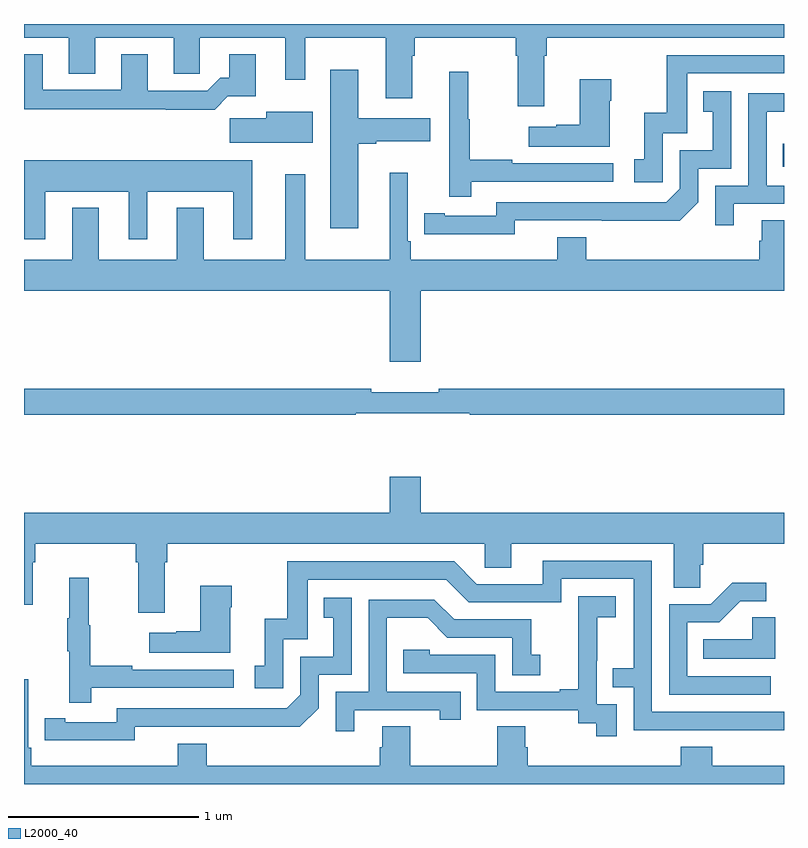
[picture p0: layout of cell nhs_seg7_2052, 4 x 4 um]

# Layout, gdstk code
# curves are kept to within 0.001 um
import gdstk
lib = gdstk.Library(unit=1e-6, precision=1e-09)
def R(c, l, rs):  # rectangles x0, y0, x1, y1
    for r in rs: c.add(gdstk.rectangle(r[:2], r[2:], *l))
def P(c, l, *ps):  # polygons
    for p in ps: c.add(gdstk.Polygon(p, *l))
L2000_40 = (2000, 40)

nhs_seg7_2052 = lib.new_cell('nhs_seg7_2052')
R(nhs_seg7_2052, L2000_40, [(250.993,1021.248,251,1021.371)])
P(nhs_seg7_2052, L2000_40, [(249.739,1021.832),(249.752,1021.832),(249.752,1021.928),(251,1021.928),(251,1022),(247,1022),(247,1021.928),(247.235,1021.928),(247.235,1021.738),(247.375,1021.738),(247.375,1021.928),(247.787,1021.928),(247.787,1021.738),(247.926,1021.738),(247.926,1021.928),(248.375,1021.928),(248.375,1021.707),(248.479,1021.707),(248.479,1021.928),(248.903,1021.928),(248.903,1021.608),(249.043,1021.608),(249.043,1021.832),(249.056,1021.832),(249.056,1021.928),(249.587,1021.928),(249.587,1021.832),(249.599,1021.832),(249.599,1021.566),(249.739,1021.566)],
  [(248.072,1021.619),(248.221,1021.619),(248.221,1021.84),(248.081,1021.84),(248.081,1021.717),(248.032,1021.717),(247.965,1021.65),(247.651,1021.65),(247.651,1021.84),(247.511,1021.84),(247.511,1021.653),(247.099,1021.653),(247.099,1021.84),(247,1021.84),(247,1021.552),(247.747,1021.552),(247.747,1021.55),(248.003,1021.55)],
  [(250.362,1021.425),(250.491,1021.425),(250.491,1021.74),(251,1021.74),(251,1021.836),(250.383,1021.836),(250.383,1021.534),(250.265,1021.534),(250.265,1021.287),(250.212,1021.287),(250.212,1021.167),(250.362,1021.167)],
  [(248.758,1021.37),(248.854,1021.37),(248.854,1021.382),(249.139,1021.382),(249.139,1021.504),(248.758,1021.504),(248.758,1021.759),(248.612,1021.759),(248.612,1020.924),(248.758,1020.924)],
  [(249.353,1021.17),(250.102,1021.17),(250.102,1021.266),(249.569,1021.266),(249.569,1021.286),(249.346,1021.286),(249.346,1021.5),(249.338,1021.5),(249.338,1021.75),(249.237,1021.75),(249.237,1021.092),(249.353,1021.092)],
  [(250.084,1021.595),(250.092,1021.595),(250.092,1021.708),(249.926,1021.708),(249.926,1021.469),(249.8,1021.469),(249.8,1021.459),(249.657,1021.459),(249.657,1021.355),(250.084,1021.355)],
  [(249.582,1020.966),(250.45,1020.965),(250.548,1021.062),(250.548,1021.239),(250.722,1021.239),(250.722,1021.645),(250.576,1021.645),(250.576,1021.539),(250.625,1021.539),(250.625,1021.335),(250.452,1021.335),(250.452,1021.134),(250.38,1021.062),(249.486,1021.062),(249.486,1020.99),(249.214,1020.99),(249.214,1021.003),(249.106,1021.003),(249.106,1020.894),(249.582,1020.893)],
  [(250.735,1021.053),(251,1021.053),(251,1021.149),(250.908,1021.149),(250.908,1021.538),(251,1021.538),(251,1021.635),(250.812,1021.635),(250.812,1021.149),(250.638,1021.149),(250.638,1020.942),(250.735,1020.942)],
  [(248.521,1021.537),(248.276,1021.537),(248.276,1021.505),(248.082,1021.505),(248.082,1021.376),(248.521,1021.376)],
  [(247.111,1021.118),(247.55,1021.118),(247.55,1020.867),(247.648,1020.867),(247.648,1021.118),(248.102,1021.118),(248.102,1020.867),(248.2,1020.867),(248.2,1021.282),(247,1021.282),(247,1020.867),(247.111,1020.867)],
  [(249.088,1020.596),(251,1020.596),(251,1020.968),(250.883,1020.968),(250.883,1020.858),(250.871,1020.858),(250.871,1020.76),(249.959,1020.76),(249.959,1020.877),(249.806,1020.877),(249.806,1020.76),(249.035,1020.76),(249.035,1020.856),(249.021,1020.856),(249.021,1021.216),(248.924,1021.216),(248.924,1020.76),(248.479,1020.76),(248.479,1021.21),(248.375,1021.21),(248.375,1020.76),(247.945,1020.76),(247.945,1021.033),(247.805,1021.033),(247.805,1020.76),(247.393,1020.76),(247.393,1021.033),(247.253,1021.033),(247.253,1020.76),(247,1020.76),(247,1020.596),(248.924,1020.596),(248.924,1020.222),(249.088,1020.222)],
  [(248.745,1019.952),(249.345,1019.952),(249.345,1019.944),(251,1019.944),(251,1020.08),(249.184,1020.08),(249.184,1020.061),(248.828,1020.061),(248.828,1020.08),(247,1020.08),(247,1019.944),(248.745,1019.944)],
  [(247.741,1019.168),(247.754,1019.168),(247.754,1019.264),(249.426,1019.264),(249.426,1019.137),(249.565,1019.137),(249.565,1019.264),(250.421,1019.264),(250.421,1019.032),(250.56,1019.032),(250.56,1019.155),(250.574,1019.155),(250.574,1019.264),(251,1019.264),(251,1019.428),(249.088,1019.428),(249.088,1019.617),(248.924,1019.617),(248.924,1019.428),(247,1019.428),(247,1018.944),(247.045,1018.944),(247.045,1019.168),(247.058,1019.168),(247.058,1019.264),(247.589,1019.264),(247.589,1019.168),(247.601,1019.168),(247.601,1018.902),(247.741,1018.902)],
  [(251,1018.38),(250.305,1018.38),(250.305,1019.175),(249.731,1019.175),(249.731,1019.052),(249.384,1019.052),(249.264,1019.172),(248.385,1019.172),(248.385,1018.87),(248.267,1018.87),(248.267,1018.623),(248.214,1018.623),(248.214,1018.503),(248.364,1018.503),(248.364,1018.761),(248.493,1018.761),(248.493,1019.076),(249.222,1019.076),(249.342,1018.956),(249.828,1018.956),(249.828,1019.079),(250.209,1019.079),(250.209,1018.61),(250.099,1018.61),(250.099,1018.509),(250.209,1018.509),(250.209,1018.284),(251,1018.283)],
  [(247.355,1018.506),(248.104,1018.506),(248.104,1018.602),(247.571,1018.602),(247.571,1018.622),(247.348,1018.622),(247.348,1018.836),(247.34,1018.836),(247.34,1019.086),(247.238,1019.086),(247.238,1018.873),(247.227,1018.873),(247.227,1018.699),(247.238,1018.699),(247.238,1018.428),(247.355,1018.428)],
  [(250.93,1018.566),(250.491,1018.566),(250.491,1018.851),(250.66,1018.851),(250.771,1018.962),(250.906,1018.962),(250.906,1019.06),(250.727,1019.06),(250.614,1018.947),(250.395,1018.947),(250.395,1018.47),(250.93,1018.47)],
  [(248.086,1018.931),(248.094,1018.931),(248.094,1019.044),(247.928,1019.044),(247.928,1018.805),(247.802,1018.805),(247.802,1018.795),(247.659,1018.795),(247.659,1018.691),(248.086,1018.691)],
  [(250.119,1018.419),(250.014,1018.419),(250.014,1018.649),(250.016,1018.649),(250.016,1018.877),(250.114,1018.877),(250.114,1018.987),(249.916,1018.987),(249.916,1018.781),(249.917,1018.781),(249.917,1018.498),(249.821,1018.498),(249.821,1018.485),(249.48,1018.485),(249.48,1018.68),(249.135,1018.68),(249.135,1018.707),(248.995,1018.707),(248.995,1018.584),(249.384,1018.584),(249.384,1018.389),(249.918,1018.389),(249.918,1018.321),(250.011,1018.321),(250.011,1018.251),(250.119,1018.251)],
  [(247.584,1018.302),(248.452,1018.301),(248.55,1018.398),(248.55,1018.575),(248.724,1018.575),(248.724,1018.981),(248.578,1018.981),(248.578,1018.875),(248.627,1018.875),(248.627,1018.671),(248.454,1018.671),(248.454,1018.47),(248.382,1018.398),(247.488,1018.398),(247.488,1018.326),(247.216,1018.326),(247.216,1018.346),(247.108,1018.346),(247.108,1018.23),(247.584,1018.229)],
  [(248.737,1018.389),(249.188,1018.389),(249.188,1018.338),(249.299,1018.338),(249.299,1018.485),(248.91,1018.485),(248.91,1018.874),(249.124,1018.874),(249.228,1018.77),(249.57,1018.77),(249.57,1018.572),(249.718,1018.572),(249.718,1018.681),(249.669,1018.681),(249.669,1018.866),(249.265,1018.866),(249.16,1018.971),(248.814,1018.971),(248.814,1018.485),(248.64,1018.485),(248.64,1018.278),(248.737,1018.278)],
  [(250.954,1018.877),(250.833,1018.877),(250.833,1018.762),(250.576,1018.762),(250.576,1018.658),(250.954,1018.658)],
  [(251,1018.096),(250.622,1018.096),(250.622,1018.195),(250.457,1018.195),(250.457,1018.096),(249.65,1018.096),(249.65,1018.194),(249.637,1018.194),(249.637,1018.304),(249.49,1018.304),(249.49,1018.096),(249.033,1018.096),(249.033,1018.304),(248.885,1018.304),(248.885,1018.194),(248.873,1018.194),(248.873,1018.096),(247.961,1018.096),(247.961,1018.213),(247.808,1018.213),(247.808,1018.096),(247.037,1018.096),(247.037,1018.192),(247.023,1018.192),(247.023,1018.552),(247,1018.552),(247,1018),(251,1018)])

lib.write_gds('nhs_seg7_2052.gds')
